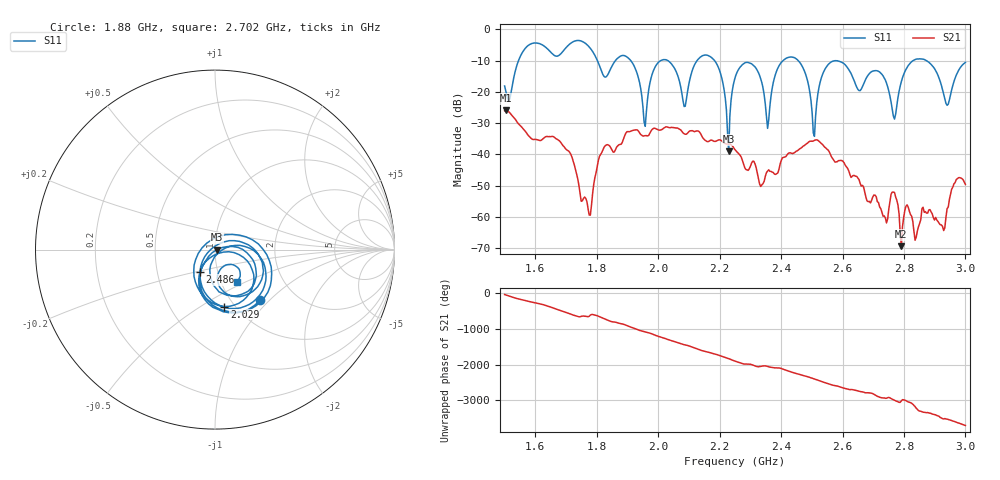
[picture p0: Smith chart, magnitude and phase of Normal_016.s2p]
# HZ S RI R 50
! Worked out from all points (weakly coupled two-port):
!   404 points, 1.5 GHz to 3 GHz, reference 50 ohm
!   highest |S21| = -25.90 dB at 1.504 GHz (marker M1); lowest = -69.3 dB at 2.792 GHz (marker M2)
!   lowest |S11| = -39.0 dB at 2.23 GHz (marker M3), VSWR 1.02, Z = 51.1 + j0.0458 ohm
!   |S11| at or under -10 dB: 2.183 GHz to 2.407 GHz (223.3 MHz wide, 9.73 % of centre); 2.456 GHz to 2.83 GHz (374.4 MHz wide, 14.2 % of centre); 2.873 GHz to end of sweep (the widest 3 of 7)
!   S12 and S22 are empty: the file has one direction only
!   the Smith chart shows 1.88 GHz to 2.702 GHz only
!   S11 on the Smith chart (normalised r, x): 1.88 GHz: 1.33, -0.88; 2.029 GHz: 0.90, -0.63; 2.486 GHz: 0.82, -0.21; 2.702 GHz: 1.18, -0.45
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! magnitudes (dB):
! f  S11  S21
! 1.5 GHz  -18.1  -26.0
! 1.504 GHz  -19.7  -25.9
! 1.578 GHz  -5.1  -34.1
! 1.753 GHz  -3.9  -54.8
! 1.88 GHz  -8.5  -36.7
! 1.958 GHz  -31.0  -34.0
! 2.002 GHz  -10.4  -32.2
! 2.029 GHz  -9.9  -31.2
! 2.084 GHz  -24.7  -33.4
! 2.177 GHz  -9.4  -35.6
! 2.23 GHz  -39.0  -36.7
! 2.252 GHz  -15.0  -38.7
! 2.337 GHz  -17.1  -49.7
! 2.486 GHz  -16.5  -36.4
! 2.501 GHz  -26.9  -35.8
! 2.561 GHz  -10.6  -40.0
! 2.702 GHz  -13.3  -53.0
! 2.751 GHz  -19.7  -57.5
! 2.792 GHz  -16.7  -69.3
! 2.866 GHz  -9.6  -58.5
! 2.94 GHz  -24.3  -57.3
! 3 GHz  -10.6  -49.6
